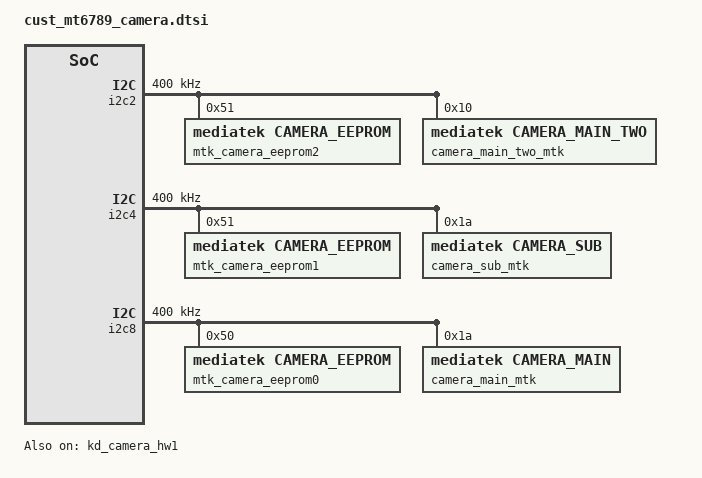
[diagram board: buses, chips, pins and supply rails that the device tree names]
// SPDX-License-Identifier: GPL-2.0
/* Copyright (c) 2020 MediaTek Inc. */
/* CAMERA GPIO standardization */
&pio {
	camera_pins_cam0_rst_0: cam0@0 {
		pins_cmd_dat {
			pinmux = <PINMUX_GPIO20__FUNC_GPIO20>;
			slew-rate = <1>;
			output-low;
		};
	};
	camera_pins_cam0_rst_1: cam0@1 {
		pins_cmd_dat {
			pinmux = <PINMUX_GPIO20__FUNC_GPIO20>;
			slew-rate = <1>;
			output-high;
		};
	};
	camera_pins_cam1_rst_0: cam1@0 {
		pins_cmd_dat {
			pinmux = <PINMUX_GPIO16__FUNC_GPIO16>;
			slew-rate = <1>;
			output-low;
		};
	};
	camera_pins_cam1_rst_1: cam1@1 {
		pins_cmd_dat {
			pinmux = <PINMUX_GPIO16__FUNC_GPIO16>;
			slew-rate = <1>;
			output-high;
		};
	};
	camera_pins_cam2_rst_0: cam2@0 {
		pins_cmd_dat {
			pinmux = <PINMUX_GPIO22__FUNC_GPIO22>;
			slew-rate = <1>;
			output-low;
		};
	};
	camera_pins_cam2_rst_1: cam2@1 {
		pins_cmd_dat {
			pinmux = <PINMUX_GPIO22__FUNC_GPIO22>;
			slew-rate = <1>;
			output-high;
		};
	};
	camera_pins_cam0_mclk_off: camera_pins_cam0_mclk_off {
		pins_cmd_dat {
			pinmux = <PINMUX_GPIO128__FUNC_GPIO128>;
			drive-strength = <1>;
		};
	};
	camera_pins_cam0_mclk_2ma: camera_pins_cam0_mclk_2ma {
		pins_cmd_dat {
			pinmux = <PINMUX_GPIO128__FUNC_CMMCLK2>;
			drive-strength = <0>;
		};
	};
	camera_pins_cam0_mclk_4ma: camera_pins_cam0_mclk_4ma {
		pins_cmd_dat {
			pinmux = <PINMUX_GPIO128__FUNC_CMMCLK2>;
			drive-strength = <1>;
		};
	};
	camera_pins_cam0_mclk_6ma: camera_pins_cam0_mclk_6ma {
		pins_cmd_dat {
			pinmux = <PINMUX_GPIO128__FUNC_CMMCLK2>;
			drive-strength = <2>;
		};
	};
	camera_pins_cam0_mclk_8ma: camera_pins_cam0_mclk_8ma {
		pins_cmd_dat {
			pinmux = <PINMUX_GPIO128__FUNC_CMMCLK2>;
			drive-strength = <3>;
		};
	};
	camera_pins_cam1_mclk_off: camera_pins_cam1_mclk_off {
		pins_cmd_dat {
			pinmux = <PINMUX_GPIO126__FUNC_GPIO126>;
			drive-strength = <1>;
		};
	};
	camera_pins_cam1_mclk_2ma: camera_pins_cam1_mclk_2ma {
		pins_cmd_dat {
			pinmux = <PINMUX_GPIO126__FUNC_CMMCLK0>;
			drive-strength = <0>;
		};
	};
	camera_pins_cam1_mclk_4ma: camera_pins_cam1_mclk_4ma {
		pins_cmd_dat {
			pinmux = <PINMUX_GPIO126__FUNC_CMMCLK0>;
			drive-strength = <1>;
		};
	};
	camera_pins_cam1_mclk_6ma: camera_pins_cam1_mclk_6ma {
		pins_cmd_dat {
			pinmux = <PINMUX_GPIO126__FUNC_CMMCLK0>;
			drive-strength = <2>;
		};
	};
	camera_pins_cam1_mclk_8ma: camera_pins_cam1_mclk_8ma {
		pins_cmd_dat {
			pinmux = <PINMUX_GPIO126__FUNC_CMMCLK0>;
			drive-strength = <3>;
		};
	};
	camera_pins_cam2_mclk_off: camera_pins_cam2_mclk_off {
		pins_cmd_dat {
			pinmux = <PINMUX_GPIO129__FUNC_GPIO129>;
			drive-strength = <1>;
		};
	};
	camera_pins_cam2_mclk_2ma: camera_pins_cam2_mclk_2ma {
		pins_cmd_dat {
			pinmux = <PINMUX_GPIO129__FUNC_CMMCLK3>;
			drive-strength = <0>;
		};
	};
	camera_pins_cam2_mclk_4ma: camera_pins_cam2_mclk_4ma {
		pins_cmd_dat {
			pinmux = <PINMUX_GPIO129__FUNC_CMMCLK3>;
			drive-strength = <1>;
		};
	};
	camera_pins_cam2_mclk_6ma: camera_pins_cam2_mclk_6ma {
		pins_cmd_dat {
			pinmux = <PINMUX_GPIO129__FUNC_CMMCLK3>;
			drive-strength = <2>;
		};
	};
	camera_pins_cam2_mclk_8ma: camera_pins_cam2_mclk_8ma {
		pins_cmd_dat {
			pinmux = <PINMUX_GPIO129__FUNC_CMMCLK3>;
			drive-strength = <3>;
		};
	};
	camera_pins_default: camdefault {
	};
};
&kd_camera_hw1 {
	pinctrl-names = "default",
			"cam0_rst0", "cam0_rst1",
			"cam1_rst0", "cam1_rst1",
			"cam2_rst0", "cam2_rst1",
			"cam0_mclk_off",
			"cam0_mclk_2mA", "cam0_mclk_4mA",
			"cam0_mclk_6mA", "cam0_mclk_8mA",
			"cam1_mclk_off",
			"cam1_mclk_2mA", "cam1_mclk_4mA",
			"cam1_mclk_6mA", "cam1_mclk_8mA",
			"cam2_mclk_off",
			"cam2_mclk_2mA", "cam2_mclk_4mA",
			"cam2_mclk_6mA", "cam2_mclk_8mA";

	pinctrl-0 = <&camera_pins_default>;
	pinctrl-1 = <&camera_pins_cam0_rst_0>;
	pinctrl-2 = <&camera_pins_cam0_rst_1>;
	pinctrl-3 = <&camera_pins_cam1_rst_0>;
	pinctrl-4 = <&camera_pins_cam1_rst_1>;
	pinctrl-5 = <&camera_pins_cam2_rst_0>;
	pinctrl-6 = <&camera_pins_cam2_rst_1>;
	pinctrl-7 = <&camera_pins_cam0_mclk_off>;
	pinctrl-8 = <&camera_pins_cam0_mclk_2ma>;
	pinctrl-9 = <&camera_pins_cam0_mclk_4ma>;
	pinctrl-10 = <&camera_pins_cam0_mclk_6ma>;
	pinctrl-11 = <&camera_pins_cam0_mclk_8ma>;
	pinctrl-12 = <&camera_pins_cam1_mclk_off>;
	pinctrl-13 = <&camera_pins_cam1_mclk_2ma>;
	pinctrl-14 = <&camera_pins_cam1_mclk_4ma>;
	pinctrl-15 = <&camera_pins_cam1_mclk_6ma>;
	pinctrl-16 = <&camera_pins_cam1_mclk_8ma>;
	pinctrl-17 = <&camera_pins_cam2_mclk_off>;
	pinctrl-18 = <&camera_pins_cam2_mclk_2ma>;
	pinctrl-19 = <&camera_pins_cam2_mclk_4ma>;
	pinctrl-20 = <&camera_pins_cam2_mclk_6ma>;
	pinctrl-21 = <&camera_pins_cam2_mclk_8ma>;
	/* main (wide)*/
	cam0_vcama-supply = <&rt5133_ldo4>;
	cam0_vcamio-supply = <&rt5133_ldo1>;
	cam0_vcamd-supply = <&rt5133_ldo8>;
	cam0_vcama1-supply = <&rt5133_ldo5>;
	cam0_vcamaf-supply = <&rt5133_ldo3>;

	/* front*/
	cam1_vcama-supply = <&rt5133_ldo6>;
	cam1_vcamio-supply = <&rt5133_ldo1>;
	cam1_vcamd-supply = <&rt5133_ldo7>;
	cam1_vcama1-supply = <&rt5133_ldo5>;
	cam1_vcamaf-supply = <&rt5133_ldo2>;

	/* main2 (Ultra Wide)*/
	cam2_vcama-supply = <&rt5133_gpio2>;
	cam2_vcamio-supply = <&rt5133_ldo1>;
	cam2_vcamd-supply = <&rt5133_ldo7>;
	cam2_vcama1-supply = <&rt5133_ldo5>;
	cam2_vcamaf-supply = <&rt5133_gpio1>;

	cam0_pin_mclk = "mclk";
	cam0_pin_rst = "gpio";
	cam0_pin_vcama = "regulator";
	cam0_pin_vcamio = "regulator";
	cam0_pin_vcamd = "regulator";
	cam0_pin_vcama1 = "regulator";
	cam0_pin_vcamaf = "regulator";
	cam1_pin_mclk = "mclk";
	cam1_pin_rst = "gpio";
	cam1_pin_vcama = "regulator";
	cam1_pin_vcamio = "regulator";
	cam1_pin_vcamd = "regulator";
	cam1_pin_vcama1 = "regulator";
	cam1_pin_vcamaf = "regulator";
	cam2_pin_mclk = "mclk";
	cam2_pin_rst = "gpio";
	cam2_pin_vcama = "regulator";
	cam2_pin_vcamio = "regulator";
	cam2_pin_vcamd = "regulator";
	cam2_pin_vcama1 = "regulator";
	cam2_pin_vcamaf = "gpio";
	status = "okay";
};
/* CAMERA GPIO end */

/* CAMERA EEPROM */
&i2c2 {
	status = "okay";
	clock-frequency = <400000>;
	#address-cells = <1>;
	#size-cells = <0>;

	mtk_camera_eeprom2:camera_eeprom2@51 {
		compatible = "mediatek,camera_eeprom";
		reg = <0x51>;
		status = "okay";
	};
	camera_main_two_mtk:camera_main_two@10 {
		compatible = "mediatek,camera_main_two";
		#thermal-sensor-cells = <0>;
		reg = <0x10>;
		status = "okay";
	};
};
&i2c4 {
	status = "okay";
	clock-frequency = <400000>;
	#address-cells = <1>;
	#size-cells = <0>;

	mtk_camera_eeprom1:camera_eeprom1@51 {
		compatible = "mediatek,camera_eeprom";
		reg = <0x51>;
		status = "okay";
	};
	camera_sub_mtk:camera_sub@1a {
		compatible = "mediatek,camera_sub";
		#thermal-sensor-cells = <0>;
		reg = <0x1a>;
		status = "okay";
	};
};
&i2c8 {
	status = "okay";
	clock-frequency = <400000>;
	#address-cells = <1>;
	#size-cells = <0>;

	mtk_camera_eeprom0:camera_eeprom0@50 {
		compatible = "mediatek,camera_eeprom";
		reg = <0x50>;
		status = "okay";
	};
	camera_main_mtk:camera_main@1a {
		compatible = "mediatek,camera_main";
		#thermal-sensor-cells = <0>;
		reg = <0x1a>;
		status = "okay";
	};
};
/* CAMERA EEPROM end */

/* CAMERA TZ config */
&thermal_zones {
	camera_main: camera_main {
		polling-delay = <1000>; /* milliseconds */
		polling-delay-passive = <0>; /* milliseconds */
		thermal-sensors = <&camera_main_mtk>;
	};
	camera_sub: camera_sub {
		polling-delay = <1000>; /* milliseconds */
		polling-delay-passive = <0>; /* milliseconds */
		thermal-sensors = <&camera_sub_mtk>;
	};
	camera_main_two: camera_main_two {
		polling-delay = <1000>; /* milliseconds */
		polling-delay-passive = <0>; /* milliseconds */
		thermal-sensors = <&camera_main_two_mtk>;
	};
};
/* CAMERA TZ config end */
